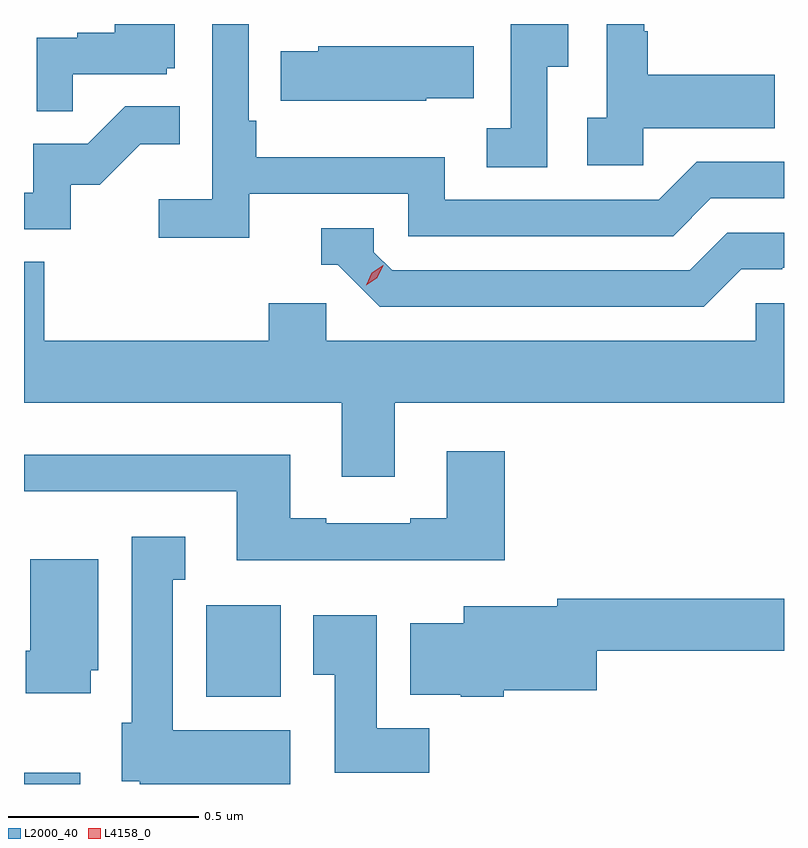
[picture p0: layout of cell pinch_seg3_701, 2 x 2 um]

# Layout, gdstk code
import gdstk
lib = gdstk.Library(unit=1e-6, precision=1e-09)
def R(c, l, rs):  # rectangles x0, y0, x1, y1
    for r in rs: c.add(gdstk.rectangle(r[:2], r[2:], *l))
def P(c, l, *ps):  # polygons
    for p in ps: c.add(gdstk.Polygon(p, *l))
L2000_40 = (2000, 40)
L4158_0 = (4158, 0)

pinch_seg3_701 = lib.new_cell('pinch_seg3_701')
R(pinch_seg3_701, L2000_40, [(1114.599,678.601,1114.747,678.631), (1115.078,678.83,1115.275,679.072)])
P(pinch_seg3_701, L2000_40, [(1115.192,680.154),(1115.61,680.154),(1115.61,680.043),(1116.307,680.043),(1116.406,680.142),(1116.599,680.142),(1116.599,680.238),(1116.369,680.238),(1116.27,680.139),(1115.706,680.139),(1115.706,680.251),(1115.21,680.251),(1115.21,680.347),(1115.19,680.347),(1115.19,680.601),(1115.094,680.601),(1115.094,680.14),(1114.953,680.14),(1114.953,680.038),(1115.192,680.038)],
  [(1116.228,680.327),(1116.575,680.327),(1116.575,680.467),(1116.241,680.467),(1116.241,680.582),(1116.231,680.582),(1116.231,680.601),(1116.132,680.601),(1116.132,680.354),(1116.081,680.354),(1116.081,680.229),(1116.228,680.229)],
  [(1115.976,680.488),(1116.031,680.488),(1116.031,680.601),(1115.88,680.601),(1115.88,680.327),(1115.817,680.327),(1115.817,680.224),(1115.976,680.224)],
  [(1114.727,680.469),(1114.974,680.469),(1114.974,680.484),(1114.996,680.484),(1114.996,680.601),(1114.838,680.601),(1114.838,680.578),(1114.739,680.578),(1114.739,680.565),(1114.632,680.565),(1114.632,680.371),(1114.727,680.371)],
  [(1115.658,680.405),(1115.783,680.405),(1115.783,680.542),(1115.373,680.542),(1115.373,680.529),(1115.275,680.529),(1115.275,680.399),(1115.658,680.399)],
  [(1114.722,680.178),(1114.798,680.178),(1114.905,680.285),(1115.009,680.285),(1115.009,680.384),(1114.865,680.384),(1114.767,680.286),(1114.623,680.286),(1114.623,680.157),(1114.599,680.157),(1114.599,680.061),(1114.722,680.061)],
  [(1116.487,679.956),(1116.594,679.956),(1116.594,679.959),(1116.599,679.959),(1116.599,680.052),(1116.45,680.052),(1116.351,679.953),(1115.568,679.953),(1115.52,680.001),(1115.52,680.064),(1115.381,680.064),(1115.381,679.968),(1115.424,679.968),(1115.535,679.857),(1116.388,679.857)],
  [(1115.575,679.604),(1116.599,679.604),(1116.599,679.866),(1116.525,679.866),(1116.525,679.768),(1115.394,679.768),(1115.394,679.866),(1115.243,679.866),(1115.243,679.768),(1114.652,679.768),(1114.652,679.976),(1114.599,679.976),(1114.599,679.604),(1115.435,679.604),(1115.435,679.41),(1115.575,679.41)],
  [(1115.864,679.477),(1115.711,679.477),(1115.711,679.3),(1115.615,679.3),(1115.615,679.287),(1115.395,679.287),(1115.395,679.3),(1115.299,679.3),(1115.299,679.468),(1114.599,679.468),(1114.599,679.371),(1115.159,679.371),(1115.159,679.19),(1115.864,679.19)],
  [(1115.299,678.742),(1114.99,678.742),(1114.99,679.139),(1115.023,679.139),(1115.023,679.252),(1114.883,679.252),(1114.883,678.762),(1114.856,678.762),(1114.856,678.608),(1114.904,678.608),(1114.904,678.601),(1115.299,678.601)],
  [(1114.774,678.9),(1114.795,678.9),(1114.795,679.192),(1114.616,679.192),(1114.616,678.952),(1114.604,678.952),(1114.604,678.84),(1114.774,678.84)],
  [(1115.862,678.848),(1116.106,678.848),(1116.106,678.952),(1116.599,678.952),(1116.599,679.088),(1116.002,679.088),(1116.002,679.069),(1115.756,679.069),(1115.756,679.024),(1115.615,679.024),(1115.615,678.836),(1115.748,678.836),(1115.748,678.83),(1115.862,678.83)],
  [(1115.666,678.748),(1115.527,678.748),(1115.527,679.045),(1115.36,679.045),(1115.36,678.889),(1115.417,678.889),(1115.417,678.63),(1115.666,678.63)])
P(pinch_seg3_701, L4158_0, [(1115.499,679.913),(1115.499,679.914),(1115.514,679.946),(1115.544,679.966),(1115.545,679.966),(1115.545,679.966),(1115.529,679.933),(1115.499,679.913)])

lib.write_gds('pinch_seg3_701.gds')
